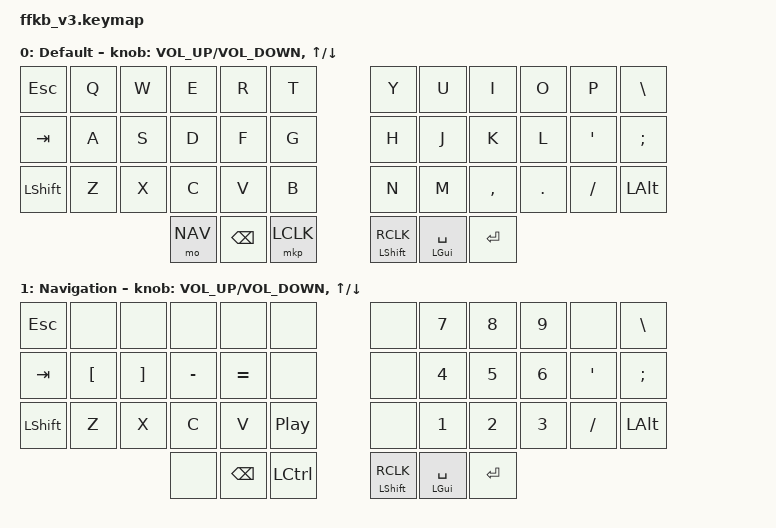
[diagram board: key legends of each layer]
#include <behaviors.dtsi>
#include <dt-bindings/zmk/keys.h>
#include <dt-bindings/zmk/pointing.h>

#define DEFAULT 0
#define NAV     1

&caps_word {
    continue-list = <UNDERSCORE MINUS>;
};

/ {
    sensors {
        compatible = "zmk,keymap-sensors";
        sensors = <&encoder_1 &encoder_2>;
    };

    behaviors {
        /* hold = Left Shift (keyboard key), tap = mouse click.
           Hold-tap binding order is: <hold behavior>, <tap behavior>.
           Usage: &shift_click LSHFT RCLK  */
        shift_click: shift_click {
            compatible = "zmk,behavior-hold-tap";
            label = "SHIFT_CLICK";
            #binding-cells = <2>;
            flavor = "balanced";
            tapping-term-ms = <200>;
            bindings = <&kp>, <&mkp>;
        };
    };

    keymap {
        compatible = "zmk,keymap";

        default_layer {
            label = "Default";
            sensor-bindings = <&inc_dec_kp C_VOLUME_UP C_VOLUME_DOWN &inc_dec_kp UP DOWN>;
            bindings = <
&kp ESC    &kp Q  &kp W  &kp E  &kp R  &kp T        &kp Y  &kp U  &kp I      &kp O   &kp P    &kp BSLH
&kp TAB    &kp A  &kp S  &kp D  &kp F  &kp G        &kp H  &kp J  &kp K      &kp L   &kp SQT  &kp SEMI
&kp LSHFT  &kp Z  &kp X  &kp C  &kp V  &kp B        &kp N  &kp M  &kp COMMA  &kp DOT &kp FSLH &kp LALT
               &mo NAV  &kp BSPC  &mkp LCLK        &shift_click LSHFT RCLK  &mt LGUI SPACE  &kp RET
            >;
        };

        nav_layer {
            label = "Navigation";
            sensor-bindings = <&inc_dec_kp C_VOLUME_UP C_VOLUME_DOWN &inc_dec_kp UP DOWN>;
            bindings = <
&kp ESC    &none     &none     &none     &none        &none        &none     &kp N7 &kp N8 &kp N9 &none    &kp BSLH
&kp TAB    &kp LBKT  &kp RBKT  &kp MINUS &kp EQUAL    &none        &none     &kp N4 &kp N5 &kp N6 &kp SQT  &kp SEMI
&kp LSHFT  &kp Z     &kp X     &kp C     &kp V        &kp C_PP     &none     &kp N1 &kp N2 &kp N3 &kp FSLH &kp LALT
               &none      &kp BSPC  &kp LCTRL        &shift_click LSHFT RCLK  &mt LGUI SPACE  &kp RET
            >;
        };
    };
};
